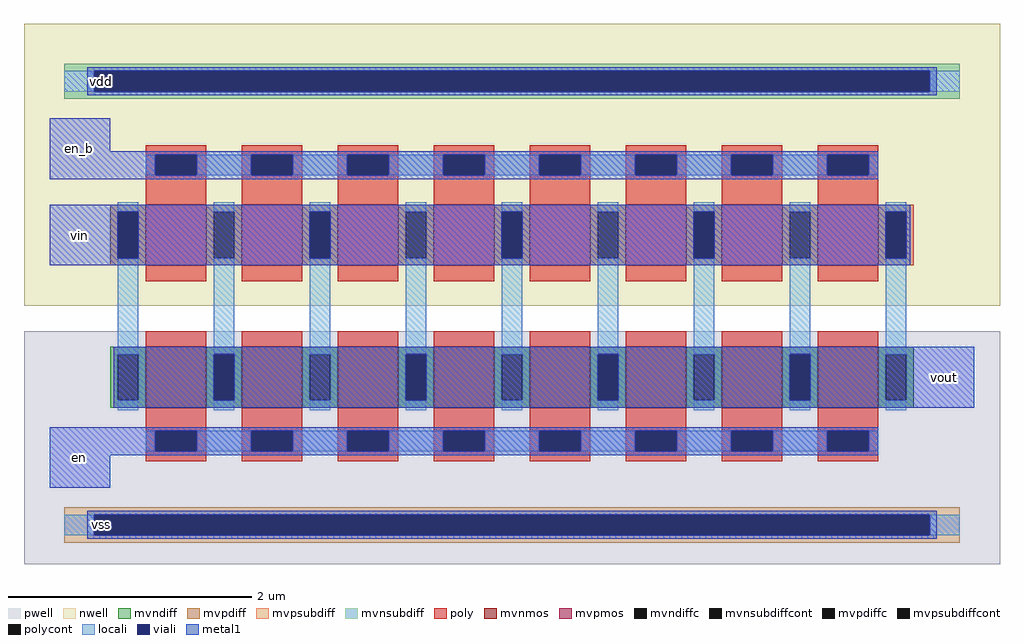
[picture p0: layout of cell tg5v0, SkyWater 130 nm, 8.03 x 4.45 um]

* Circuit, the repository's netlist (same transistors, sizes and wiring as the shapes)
** sch_path: /home/amedcalf/projects/ci2406_fgcaptest/xschem/tg5v0.sch
.subckt tg5v0 vin vout en en_b vdd vss
*.PININFO vin:I vout:O en:I en_b:I vdd:I vss:I
XM1 vout en vin vss sky130_fd_pr__nfet_g5v0d10v5 L=0.5 W=4 nf=8 m=1
XM2 vout en_b vin vdd sky130_fd_pr__pfet_g5v0d10v5 L=0.5 W=4 nf=8 m=1
.ends
.end

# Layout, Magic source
magic
tech sky130A
<< nwell >>
rect 14 213 817 445
<< pwell >>
rect 14 0 817 192
<< mvnmos >>
rect 114 129 164 179
rect 193 129 243 179
rect 272 129 322 179
rect 351 129 401 179
rect 430 129 480 179
rect 509 129 559 179
rect 588 129 638 179
rect 667 129 717 179
<< mvpmos >>
rect 114 246 164 296
rect 193 246 243 296
rect 272 246 322 296
rect 351 246 401 296
rect 430 246 480 296
rect 509 246 559 296
rect 588 246 638 296
rect 667 246 717 296
<< mvndiff >>
rect 85 173 114 179
rect 85 135 91 173
rect 108 135 114 173
rect 85 129 114 135
rect 164 173 193 179
rect 164 135 170 173
rect 187 135 193 173
rect 164 129 193 135
rect 243 173 272 179
rect 243 135 249 173
rect 266 135 272 173
rect 243 129 272 135
rect 322 173 351 179
rect 322 135 328 173
rect 345 135 351 173
rect 322 129 351 135
rect 401 173 430 179
rect 401 135 407 173
rect 424 135 430 173
rect 401 129 430 135
rect 480 173 509 179
rect 480 135 486 173
rect 503 135 509 173
rect 480 129 509 135
rect 559 173 588 179
rect 559 135 565 173
rect 582 135 588 173
rect 559 129 588 135
rect 638 173 667 179
rect 638 135 644 173
rect 661 135 667 173
rect 638 129 667 135
rect 717 173 746 179
rect 717 135 723 173
rect 740 135 746 173
rect 717 129 746 135
<< mvpdiff >>
rect 85 290 114 296
rect 85 252 91 290
rect 108 252 114 290
rect 85 246 114 252
rect 164 290 193 296
rect 164 252 170 290
rect 187 252 193 290
rect 164 246 193 252
rect 243 290 272 296
rect 243 252 249 290
rect 266 252 272 290
rect 243 246 272 252
rect 322 290 351 296
rect 322 252 328 290
rect 345 252 351 290
rect 322 246 351 252
rect 401 290 430 296
rect 401 252 407 290
rect 424 252 430 290
rect 401 246 430 252
rect 480 290 509 296
rect 480 252 486 290
rect 503 252 509 290
rect 480 246 509 252
rect 559 290 588 296
rect 559 252 565 290
rect 582 252 588 290
rect 559 246 588 252
rect 638 290 667 296
rect 638 252 644 290
rect 661 252 667 290
rect 638 246 667 252
rect 717 290 746 296
rect 717 252 723 290
rect 740 252 746 290
rect 717 246 746 252
<< mvndiffc >>
rect 91 135 108 173
rect 170 135 187 173
rect 249 135 266 173
rect 328 135 345 173
rect 407 135 424 173
rect 486 135 503 173
rect 565 135 582 173
rect 644 135 661 173
rect 723 135 740 173
<< mvpdiffc >>
rect 91 252 108 290
rect 170 252 187 290
rect 249 252 266 290
rect 328 252 345 290
rect 407 252 424 290
rect 486 252 503 290
rect 565 252 582 290
rect 644 252 661 290
rect 723 252 740 290
<< mvpsubdiff >>
rect 47 41 784 47
rect 47 24 72 41
rect 759 24 784 41
rect 47 18 784 24
<< mvnsubdiff >>
rect 47 406 784 412
rect 47 389 72 406
rect 759 389 784 406
rect 47 383 784 389
<< mvpsubdiffcont >>
rect 72 24 759 41
<< mvnsubdiffcont >>
rect 72 389 759 406
<< poly >>
rect 114 337 164 345
rect 114 320 122 337
rect 156 320 164 337
rect 114 296 164 320
rect 193 337 243 345
rect 193 320 201 337
rect 235 320 243 337
rect 193 296 243 320
rect 272 337 322 345
rect 272 320 280 337
rect 314 320 322 337
rect 272 296 322 320
rect 351 337 401 345
rect 351 320 359 337
rect 393 320 401 337
rect 351 296 401 320
rect 430 337 480 345
rect 430 320 438 337
rect 472 320 480 337
rect 430 296 480 320
rect 509 337 559 345
rect 509 320 517 337
rect 551 320 559 337
rect 509 296 559 320
rect 588 337 638 345
rect 588 320 596 337
rect 630 320 638 337
rect 588 296 638 320
rect 667 337 717 345
rect 667 320 675 337
rect 709 320 717 337
rect 667 296 717 320
rect 114 233 164 246
rect 193 233 243 246
rect 272 233 322 246
rect 351 233 401 246
rect 430 233 480 246
rect 509 233 559 246
rect 588 233 638 246
rect 667 233 717 246
rect 114 179 164 192
rect 193 179 243 192
rect 272 179 322 192
rect 351 179 401 192
rect 430 179 480 192
rect 509 179 559 192
rect 588 179 638 192
rect 667 179 717 192
rect 114 110 164 129
rect 114 93 122 110
rect 156 93 164 110
rect 114 85 164 93
rect 193 110 243 129
rect 193 93 201 110
rect 235 93 243 110
rect 193 85 243 93
rect 272 110 322 129
rect 272 93 280 110
rect 314 93 322 110
rect 272 85 322 93
rect 351 110 401 129
rect 351 93 359 110
rect 393 93 401 110
rect 351 85 401 93
rect 430 110 480 129
rect 430 93 438 110
rect 472 93 480 110
rect 430 85 480 93
rect 509 110 559 129
rect 509 93 517 110
rect 551 93 559 110
rect 509 85 559 93
rect 588 110 638 129
rect 588 93 596 110
rect 630 93 638 110
rect 588 85 638 93
rect 667 110 717 129
rect 667 93 675 110
rect 709 93 717 110
rect 667 85 717 93
<< polycont >>
rect 122 320 156 337
rect 201 320 235 337
rect 280 320 314 337
rect 359 320 393 337
rect 438 320 472 337
rect 517 320 551 337
rect 596 320 630 337
rect 675 320 709 337
rect 122 93 156 110
rect 201 93 235 110
rect 280 93 314 110
rect 359 93 393 110
rect 438 93 472 110
rect 517 93 551 110
rect 596 93 630 110
rect 675 93 709 110
<< locali >>
rect 47 389 72 406
rect 759 389 784 406
rect 114 320 122 337
rect 156 320 201 337
rect 235 320 280 337
rect 314 320 359 337
rect 393 320 438 337
rect 472 320 517 337
rect 551 320 596 337
rect 630 320 675 337
rect 709 320 717 337
rect 91 290 108 298
rect 91 173 108 252
rect 91 127 108 135
rect 170 290 187 298
rect 170 173 187 252
rect 170 127 187 135
rect 249 290 266 298
rect 249 173 266 252
rect 249 127 266 135
rect 328 290 345 298
rect 328 173 345 252
rect 328 127 345 135
rect 407 290 424 298
rect 407 173 424 252
rect 407 127 424 135
rect 486 290 503 298
rect 486 173 503 252
rect 486 127 503 135
rect 565 290 582 298
rect 565 173 582 252
rect 565 127 582 135
rect 644 290 661 298
rect 644 173 661 252
rect 644 127 661 135
rect 723 290 740 298
rect 723 173 740 252
rect 723 127 740 135
rect 114 93 122 110
rect 156 93 201 110
rect 235 93 280 110
rect 314 93 359 110
rect 393 93 438 110
rect 472 93 517 110
rect 551 93 596 110
rect 630 93 675 110
rect 709 93 717 110
rect 47 24 72 41
rect 759 24 784 41
<< viali >>
rect 72 389 759 406
rect 122 320 156 337
rect 201 320 235 337
rect 280 320 314 337
rect 359 320 393 337
rect 438 320 472 337
rect 517 320 551 337
rect 596 320 630 337
rect 675 320 709 337
rect 91 252 108 290
rect 170 135 187 173
rect 249 252 266 290
rect 328 135 345 173
rect 407 252 424 290
rect 486 135 503 173
rect 565 252 582 290
rect 644 135 661 173
rect 723 252 740 290
rect 122 93 156 110
rect 201 93 235 110
rect 280 93 314 110
rect 359 93 393 110
rect 438 93 472 110
rect 517 93 551 110
rect 596 93 630 110
rect 675 93 709 110
rect 72 24 759 41
<< metal1 >>
rect 66 406 765 409
rect 66 389 72 406
rect 759 389 765 406
rect 66 386 765 389
rect 35 340 85 367
rect 35 337 717 340
rect 35 320 122 337
rect 156 320 201 337
rect 235 320 280 337
rect 314 320 359 337
rect 393 320 438 337
rect 472 320 517 337
rect 551 320 596 337
rect 630 320 675 337
rect 709 320 717 337
rect 35 317 717 320
rect 35 290 743 296
rect 35 252 91 290
rect 108 252 249 290
rect 266 252 407 290
rect 424 252 565 290
rect 582 252 723 290
rect 740 252 743 290
rect 35 246 743 252
rect 88 173 796 179
rect 88 135 170 173
rect 187 135 328 173
rect 345 135 486 173
rect 503 135 644 173
rect 661 135 796 173
rect 88 129 796 135
rect 35 110 717 113
rect 35 93 122 110
rect 156 93 201 110
rect 235 93 280 110
rect 314 93 359 110
rect 393 93 438 110
rect 472 93 517 110
rect 551 93 596 110
rect 630 93 675 110
rect 709 93 717 110
rect 35 90 717 93
rect 35 63 85 90
rect 66 41 765 44
rect 66 24 72 41
rect 759 24 765 41
rect 66 21 765 24
<< labels >>
flabel metal1 35 246 85 296 0 FreeSans 160 0 0 0 vin
port 1 nsew
flabel metal1 746 129 796 179 0 FreeSans 160 0 0 0 vout
port 2 nsew
flabel metal1 35 317 85 367 0 FreeSans 160 0 0 0 en_b
port 4 nsew
flabel metal1 35 63 85 113 0 FreeSans 160 0 0 0 en
port 3 nsew
flabel metal1 66 386 89 409 0 FreeSans 160 0 0 0 vdd
port 5 nsew
flabel metal1 66 21 89 44 0 FreeSans 160 0 0 0 vss
port 6 nsew
<< end >>
